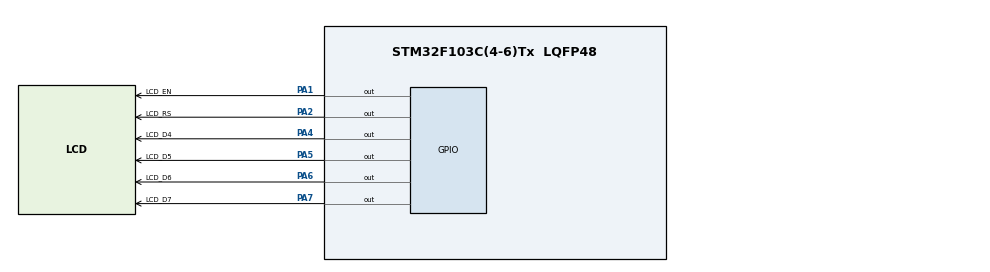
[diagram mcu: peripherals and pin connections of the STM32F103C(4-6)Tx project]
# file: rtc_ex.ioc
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Mcu.Family=STM32F1
Mcu.Name=STM32F103C(4-6)Tx
Mcu.Package=LQFP48
NVIC.PriorityGroup=NVIC_PRIORITYGROUP_4
PA1.GPIO_Label=LCD_EN
PA1.Signal=GPIO_Output
PA2.GPIO_Label=LCD_RS
PA2.Signal=GPIO_Output
PA4.GPIO_Label=LCD_D4
PA4.Signal=GPIO_Output
PA5.GPIO_Label=LCD_D5
PA5.Signal=GPIO_Output
PA6.GPIO_Label=LCD_D6
PA6.Signal=GPIO_Output
PA7.GPIO_Label=LCD_D7
PA7.Signal=GPIO_Output
PC14-OSC32_IN.Mode=LSE-External-Oscillator
PC14-OSC32_IN.Signal=RCC_OSC32_IN
PC15-OSC32_OUT.Mode=LSE-External-Oscillator
PC15-OSC32_OUT.Signal=RCC_OSC32_OUT
PD0-OSC_IN.Mode=HSE-External-Oscillator
PD0-OSC_IN.Signal=RCC_OSC_IN
PD1-OSC_OUT.Mode=HSE-External-Oscillator
PD1-OSC_OUT.Signal=RCC_OSC_OUT
ProjectManager.HeapSize=0x200
ProjectManager.StackSize=0x400
ProjectManager.TargetToolchain=MDK-ARM V5.32
RCC.APB1Freq_Value=8000000
RCC.APB2Freq_Value=8000000
RCC.RTCClockSelection=RCC_RTCCLKSOURCE_LSE
RCC.USBFreq_Value=8000000
RTC.Format=RTC_FORMAT_BIN
RTC.Hours=8
RTC.Minutes=30
RTC.Month=RTC_MONTH_MAY
RTC.WeekDay=RTC_WEEKDAY_WEDNESDAY
RTC.Year=25
VP_RTC_VS_RTC_Activate.Mode=RTC_Enabled
VP_RTC_VS_RTC_Calendar.Mode=RTC_Calendar
VP_SYS_VS_ND.Mode=No_Debug
board=custom

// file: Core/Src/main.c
/* USER CODE BEGIN Header */
/**
  ******************************************************************************
  * @file           : main.c
  * @brief          : Main program body
  ******************************************************************************
  * @attention
  *
  * Copyright (c) 2025 STMicroelectronics.
  * All rights reserved.
  *
  * This software is licensed under terms that can be found in the LICENSE file
  * in the root directory of this software component.
  * If no LICENSE file comes with this software, it is provided AS-IS.
  *
  ******************************************************************************
  */
/* USER CODE END Header */
#include "main.h"

RTC_HandleTypeDef hrtc;

void SystemClock_Config(void);
static void MX_GPIO_Init(void);
static void MX_RTC_Init(void);
/* USER CODE BEGIN PFP */
#include "LCD.h"
/* USER CODE END PFP */

/* USER CODE BEGIN 0 */
char line1[32], line2[32];

RTC_TimeTypeDef sTime;
RTC_DateTypeDef DateToUpdate;

uint16_t day, month, year;
uint16_t hour, minute, second;

float humidity = 0;
float temperature = 0;

/* USER CODE END 0 */

int main(void)
{

  /* MCU Configuration--------------------------------------------------------*/

  /* Reset of all peripherals, Initializes the Flash interface and the Systick. */
  HAL_Init();

  /* Configure the system clock */
  SystemClock_Config();

  /* Initialize all configured peripherals */
  MX_GPIO_Init();
  MX_RTC_Init();
  /* USER CODE BEGIN 2 */
	lcd_init(_LCD_4BIT, _LCD_FONT_5x8, _LCD_2LINE);

  /* USER CODE END 2 */

  /* Infinite loop */
  while (1)
  {

    /* USER CODE BEGIN 3 */
		HAL_RTC_GetTime(&hrtc, &sTime, RTC_FORMAT_BIN);
		HAL_RTC_GetDate(&hrtc, &DateToUpdate, RTC_FORMAT_BIN);

		day= DateToUpdate.Date;
		month = DateToUpdate.Month;
		year = DateToUpdate.Year;

		hour = sTime.Hours;
		minute = sTime.Minutes;
		second = sTime.Seconds;

		sprintf(line1, "%0.2d:%0.2d:%0.2d\t Hum: %.2f Temp: %.2f", hour,minute,second, humidity,temperature);
		sprintf(line2, "%0.2d:%0.2d:%0.2d", day,month,year);

		lcd_print(1,1,line1);
		lcd_print(2,1,line2);

		HAL_Delay(250);

  }
  /* USER CODE END 3 */
}

void SystemClock_Config(void)
{
  RCC_OscInitTypeDef RCC_OscInitStruct = {0};
  RCC_ClkInitTypeDef RCC_ClkInitStruct = {0};
  RCC_PeriphCLKInitTypeDef PeriphClkInit = {0};

  /** Initializes the RCC Oscillators according to the specified parameters
  * in the RCC_OscInitTypeDef structure.
  */
  RCC_OscInitStruct.OscillatorType = RCC_OSCILLATORTYPE_HSI|RCC_OSCILLATORTYPE_LSE;
  RCC_OscInitStruct.LSEState = RCC_LSE_ON;
  RCC_OscInitStruct.HSIState = RCC_HSI_ON;
  RCC_OscInitStruct.HSICalibrationValue = RCC_HSICALIBRATION_DEFAULT;
  RCC_OscInitStruct.PLL.PLLState = RCC_PLL_NONE;
  if (HAL_RCC_OscConfig(&RCC_OscInitStruct) != HAL_OK)
  {
    Error_Handler();
  }

  /** Initializes the CPU, AHB and APB buses clocks
  */
  RCC_ClkInitStruct.ClockType = RCC_CLOCKTYPE_HCLK|RCC_CLOCKTYPE_SYSCLK
                              |RCC_CLOCKTYPE_PCLK1|RCC_CLOCKTYPE_PCLK2;
  RCC_ClkInitStruct.SYSCLKSource = RCC_SYSCLKSOURCE_HSI;
  RCC_ClkInitStruct.AHBCLKDivider = RCC_SYSCLK_DIV1;
  RCC_ClkInitStruct.APB1CLKDivider = RCC_HCLK_DIV1;
  RCC_ClkInitStruct.APB2CLKDivider = RCC_HCLK_DIV1;

  if (HAL_RCC_ClockConfig(&RCC_ClkInitStruct, FLASH_LATENCY_0) != HAL_OK)
  {
    Error_Handler();
  }
  PeriphClkInit.PeriphClockSelection = RCC_PERIPHCLK_RTC;
  PeriphClkInit.RTCClockSelection = RCC_RTCCLKSOURCE_LSE;
  if (HAL_RCCEx_PeriphCLKConfig(&PeriphClkInit) != HAL_OK)
  {
    Error_Handler();
  }
}

static void MX_RTC_Init(void)
{

  RTC_TimeTypeDef sTime = {0};
  RTC_DateTypeDef DateToUpdate = {0};

  /** Initialize RTC Only
  */
  hrtc.Instance = RTC;
  hrtc.Init.AsynchPrediv = RTC_AUTO_1_SECOND;
  hrtc.Init.OutPut = RTC_OUTPUTSOURCE_ALARM;
  if (HAL_RTC_Init(&hrtc) != HAL_OK)
  {
    Error_Handler();
  }

  /** Initialize RTC and set the Time and Date
  */
  sTime.Hours = 8;
  sTime.Minutes = 30;
  sTime.Seconds = 0;

  if (HAL_RTC_SetTime(&hrtc, &sTime, RTC_FORMAT_BIN) != HAL_OK)
  {
    Error_Handler();
  }
  DateToUpdate.WeekDay = RTC_WEEKDAY_WEDNESDAY;
  DateToUpdate.Month = RTC_MONTH_MAY;
  DateToUpdate.Date = 1;
  DateToUpdate.Year = 25;

  if (HAL_RTC_SetDate(&hrtc, &DateToUpdate, RTC_FORMAT_BIN) != HAL_OK)
  {
    Error_Handler();
  }

}

static void MX_GPIO_Init(void)
{
  GPIO_InitTypeDef GPIO_InitStruct = {0};

  /* GPIO Ports Clock Enable */
  __HAL_RCC_GPIOC_CLK_ENABLE();
  __HAL_RCC_GPIOD_CLK_ENABLE();
  __HAL_RCC_GPIOA_CLK_ENABLE();

  /*Configure GPIO pin Output Level */
  HAL_GPIO_WritePin(GPIOA, LCD_EN_Pin|LCD_RS_Pin|LCD_D4_Pin|LCD_D5_Pin
                          |LCD_D6_Pin|LCD_D7_Pin, GPIO_PIN_RESET);

  /*Configure GPIO pins : LCD_EN_Pin LCD_RS_Pin LCD_D4_Pin LCD_D5_Pin
                           LCD_D6_Pin LCD_D7_Pin */
  GPIO_InitStruct.Pin = LCD_EN_Pin|LCD_RS_Pin|LCD_D4_Pin|LCD_D5_Pin
                          |LCD_D6_Pin|LCD_D7_Pin;
  GPIO_InitStruct.Mode = GPIO_MODE_OUTPUT_PP;
  GPIO_InitStruct.Pull = GPIO_NOPULL;
  GPIO_InitStruct.Speed = GPIO_SPEED_FREQ_LOW;
  HAL_GPIO_Init(GPIOA, &GPIO_InitStruct);

}

void Error_Handler(void)
{
  __disable_irq();
  while (1)
  {
  }
}
